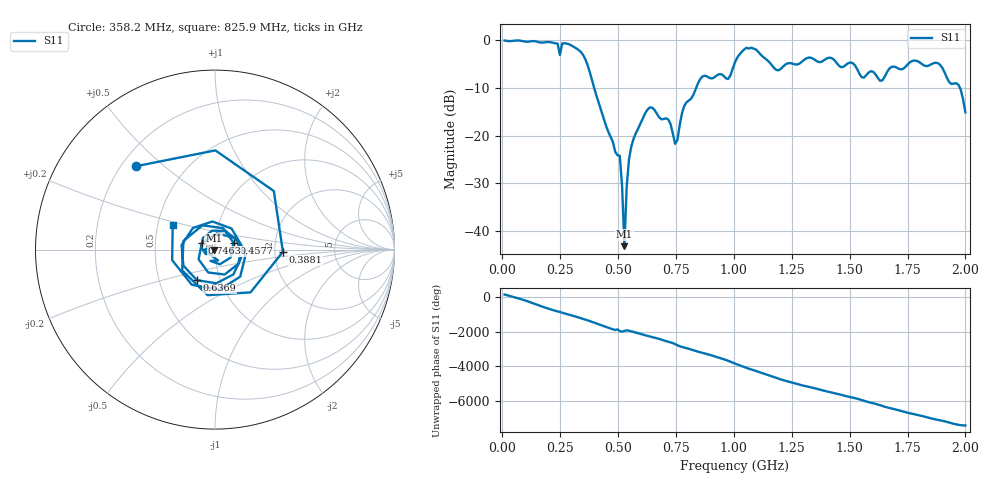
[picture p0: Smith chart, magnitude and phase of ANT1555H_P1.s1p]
!Created with skrf (http://scikit-rf.org).
# Hz S RI R 50.0
!freq ReS11 ImS11
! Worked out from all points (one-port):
!   201 points, 10 MHz to 2 GHz, reference 50 ohm
!   lowest |S11| = -43.1 dB at 527.4 MHz (marker M1), VSWR 1.01, Z = 49.3 - j0.215 ohm
!   |S11| at or under -10 dB: 397 MHz to 836.8 MHz (439.8 MHz wide, 71.3 % of centre); 1.977 GHz to end of sweep
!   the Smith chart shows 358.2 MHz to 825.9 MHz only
!   S11 on the Smith chart (normalised r, x): 358.2 MHz: 0.26, +0.41; 388.1 MHz: 2.22, -0.06; 457.8 MHz: 1.23, +0.09; 636.9 MHz: 0.77, -0.27; 746.3 MHz: 0.86, +0.06; 825.9 MHz: 0.60, +0.17
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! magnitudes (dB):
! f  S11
! 10 MHz  0.0
! 248.8 MHz  -3.1
! 258.8 MHz  -0.6
! 358.2 MHz  -3.9
! 388.1 MHz  -8.4
! 457.8 MHz  -19.1
! 507.5 MHz  -24.2
! 517.5 MHz  -30.6
! 527.4 MHz  -43.1
! 537.4 MHz  -30.6
! 557.2 MHz  -22.2
! 636.9 MHz  -14.1
! 716.5 MHz  -16.5
! 746.3 MHz  -21.7
! 756.2 MHz  -20.9
! 786.1 MHz  -13.7
! 825.9 MHz  -11.3
! 975.1 MHz  -8.1
! 1.005 GHz  -4.6
! 1.075 GHz  -1.5
! 1.184 GHz  -6.2
! 1.254 GHz  -4.9
! 1.502 GHz  -4.6
! 1.632 GHz  -8.5
! 1.751 GHz  -5.0
! 1.891 GHz  -5.1
! 1.97 GHz  -9.3
! 2 GHz  -15.1
